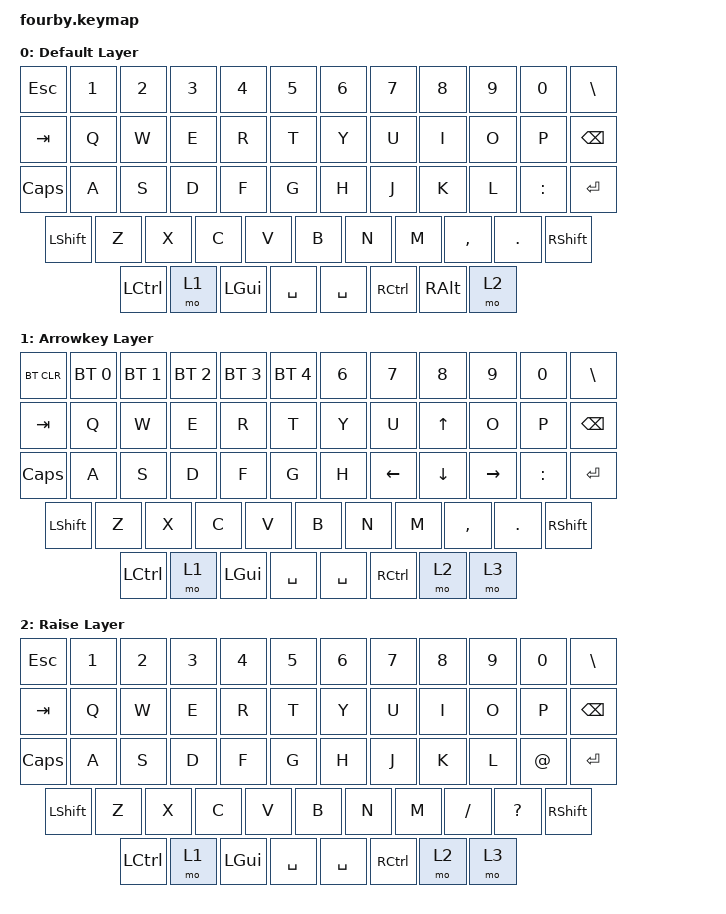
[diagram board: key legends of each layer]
/*
 * Copyright (c) 2020 The ZMK Contributors
 *
 * SPDX-License-Identifier: MIT
 */

#include <behaviors.dtsi>
#include <dt-bindings/zmk/keys.h>
#include <dt-bindings/zmk/bt.h>

/ {
        keymap {
                compatible = "zmk,keymap";

                default_layer {
                        display-name = "Default Layer";
                        bindings = <
   &kp ESC   &kp N1     &kp N2   &kp N3   &kp N4        &kp N5     &kp N6       &kp N7  &kp N8          &kp N9          &kp N0    &kp BSLH
   &kp TAB   &kp Q      &kp W   &kp E   &kp R   &kp T          &kp Y    &kp U    &kp I     &kp O   &kp P    &kp BSPC
   &kp CAPS  &kp A      &kp S   &kp D   &kp F   &kp G          &kp H    &kp J    &kp K     &kp L   &kp COLON      &kp ENTER
   &kp LSHFT            &kp Z   &kp X   &kp C   &kp V          &kp B    &kp N   &kp M   &kp COMMA       &kp DOT         &kp RSHIFT
   &kp LCTRL    &mo 1   &kp LGUI    &kp SPACE                  &kp SPACE    &kp RCTRL   &kp RALT   &mo 2
                        >;
                };
                lower_layer {
                        display-name = "Arrowkey Layer";
                        bindings = <
   &bt BT_CLR   &bt BT_SEL 0 &bt BT_SEL 1 &bt BT_SEL 2 &bt BT_SEL 3 &bt BT_SEL 4     &kp N6 &kp N7 &kp N8 &kp N9 &kp N0 &kp BSLH
   &kp TAB   &kp Q &kp W &kp E &kp R &kp T          &kp Y &kp U  &kp UP     &kp O   &kp P    &kp BSPC
   &kp CAPS  &kp A &kp S &kp D &kp F &kp G          &kp H &kp LEFT  &kp DOWN     &kp RIGHT   &kp COLON &kp ENTER
   &kp LSHFT       &kp Z &kp X &kp C &kp V          &kp B &kp N &kp M  &kp COMMA &kp DOT &kp RSHIFT
   &kp LCTRL &mo 1 &kp LGUI    &kp SPACE                  &kp SPACE    &kp RCTRL &mo 2   &mo 3
                        >;
                };

                raise_layer {
                        display-name = "Raise Layer";
                        bindings = <
   &kp ESC   &kp N1 &kp N2 &kp N3 &kp N4 &kp N5     &kp N6 &kp N7 &kp N8 &kp N9 &kp N0 &kp BSLH
   &kp TAB   &kp Q &kp W &kp E &kp R &kp T          &kp Y &kp U  &kp I     &kp O   &kp P    &kp BSPC
   &kp CAPS  &kp A &kp S &kp D &kp F &kp G          &kp H &kp J  &kp K     &kp L   &kp AT &kp ENTER
   &kp LSHFT       &kp Z &kp X &kp C &kp V          &kp B &kp N &kp M  &kp SLASH &kp QUESTION &kp RSHIFT
   &kp LCTRL &mo 1 &kp LGUI    &kp SPACE                  &kp SPACE    &kp RCTRL &mo 2   &mo 3
                        >;
                };
        };
};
